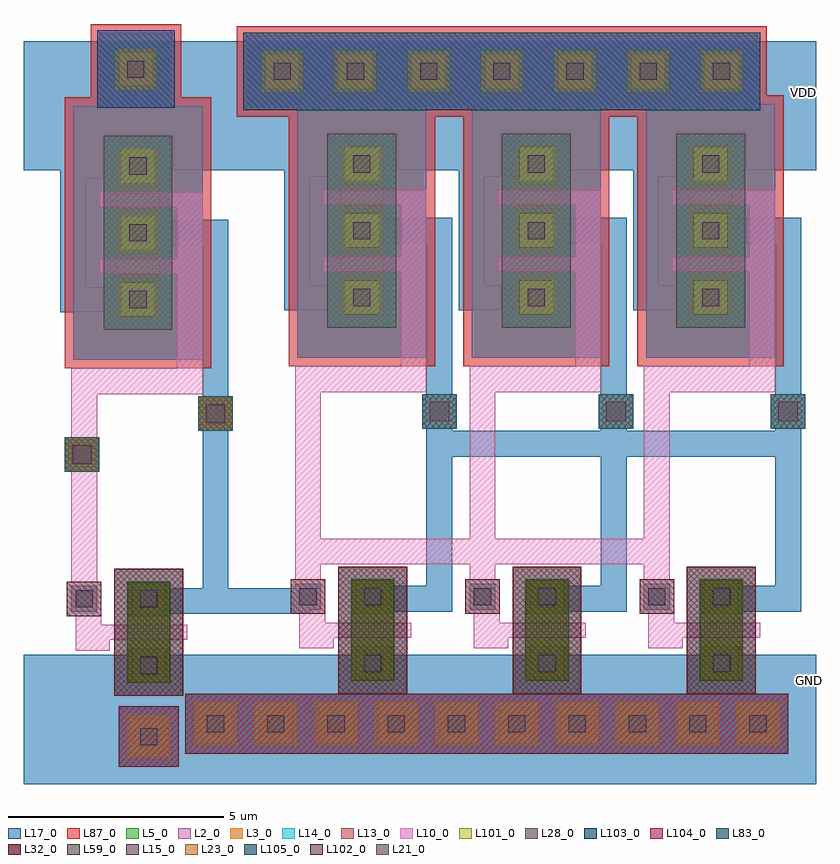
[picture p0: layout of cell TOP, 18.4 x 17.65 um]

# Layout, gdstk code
from math import pi, radians
import gdstk
lib = gdstk.Library(unit=1e-6, precision=1e-09)
def R(c, l, rs):  # rectangles x0, y0, x1, y1
    for r in rs: c.add(gdstk.rectangle(r[:2], r[2:], *l))
def A(c, l, x, y, w, h, nx, ny, dx, dy):  # array of equal rectangles
    R(c, l, [(x+i*dx, y+j*dy, x+i*dx+w, y+j*dy+h) for i in range(nx) for j in range(ny)])
L2_0 = (2, 0)
L3_0 = (3, 0)
L5_0 = (5, 0)
L10_0 = (10, 0)
L13_0 = (13, 0)
L14_0 = (14, 0)
L15_0 = (15, 0)
L17_0 = (17, 0)
L21_0 = (21, 0)
L23_0 = (23, 0)
L28_0 = (28, 0)
L32_0 = (32, 0)
L59_0 = (59, 0)
L83_0 = (83, 0)
L87_0 = (87, 0)
L101_0 = (101, 0)
L102_0 = (102, 0)
L103_0 = (103, 0)
L104_0 = (104, 0)
L105_0 = (105, 0)

via = lib.new_cell('Via')
R(via, L17_0, [(-0.4,-0.4,0.4,0.4)])
R(via, L21_0, [(-0.225,-0.225,0.225,0.225)])
R(via, L23_0, [(-0.4,-0.4,0.4,0.4)])
R(via, L105_0, [(-0.4,-0.4,0.4,0.4)])

nsub_line = lib.new_cell('Nsub_line')
R(nsub_line, L2_0, [(-0.85,-0.85,0.85,0.85)])
R(nsub_line, L3_0, [(-0.4,-0.4,0.4,0.4)])
R(nsub_line, L5_0, [(-0.85,-0.85,0.85,0.85)])
R(nsub_line, L15_0, [(-0.2,-0.2,0.2,0.2)])
R(nsub_line, L87_0, [(-1.05,-1.05,1.05,1.05)])
R(nsub_line, L101_0, [(-0.5,-0.5,0.5,0.5)])
R(nsub_line, L103_0, [(-0.9,-0.9,0.9,0.9)])
nsub_line.add(gdstk.FlexPath([(0,0),(0,0)], 1, ends="flush", simple_path=True, layer=17, datatype=0))  # L17_0

psub_line = lib.new_cell('Psub_line')
R(psub_line, L3_0, [(-0.4,-0.4,0.4,0.4)])
R(psub_line, L13_0, [(-0.7,-0.7,0.7,0.7)])
R(psub_line, L14_0, [(-0.7,-0.7,0.7,0.7)])
R(psub_line, L15_0, [(-0.2,-0.2,0.2,0.2)])
R(psub_line, L101_0, [(-0.5,-0.5,0.5,0.5)])
R(psub_line, L104_0, [(-0.7,-0.7,0.7,0.7)])
psub_line.add(gdstk.FlexPath([(0,0),(0,0)], 1, ends="flush", simple_path=True, layer=17, datatype=0))  # L17_0

dcont = lib.new_cell('dcont')
R(dcont, L3_0, [(-0.4,-0.4,0.4,0.4)])
R(dcont, L15_0, [(-0.2,-0.2,0.2,0.2)])
R(dcont, L101_0, [(-0.4,-0.4,0.4,0.4)])

pch = lib.new_cell('Pch')
R(pch, L2_0, [(-1,0.4,4.9,3.4)])
R(pch, L3_0, [(0,1.4,3.9,2.4)])
R(pch, L5_0, [(-1,0.4,4.9,3.4)])
R(pch, L13_0, [(-0.3,1.1,4.2,2.7)])
R(pch, L14_0, [(-0.3,1.1,4.2,2.7)])
R(pch, L28_0, [(-0.3,1.1,4.2,2.7)])
R(pch, L87_0, [(-1.2,0.2,5.1,3.6)])
pch.add(gdstk.FlexPath([(0.4,1.4),(0.4,2.4)], 0.8, ends="flush", simple_path=True, layer=17, datatype=0))  # L17_0
pch.add(gdstk.FlexPath([(1.95,1.4),(1.95,2.4)], 0.8, ends="flush", simple_path=True, layer=17, datatype=0))  # L17_0
pch.add(gdstk.FlexPath([(3.5,1.4),(3.5,2.4)], 0.8, ends="flush", simple_path=True, layer=17, datatype=0))  # L17_0
pch.add(gdstk.FlexPath([(0.4,1.8),(0.4,3.4)], 0.6, ends="flush", simple_path=True, layer=17, datatype=0))  # L17_0
pch.add(gdstk.FlexPath([(1.95,-0.2),(1.95,2)], 0.6, ends="flush", simple_path=True, layer=17, datatype=0))  # L17_0
pch.add(gdstk.FlexPath([(3.5,1.8),(3.5,3.4)], 0.6, ends="flush", simple_path=True, layer=17, datatype=0))  # L17_0
pch.add(gdstk.FlexPath([(0.4,3.4),(3.5,3.4)], 0.6, ends="extended", simple_path=True, layer=17, datatype=0))  # L17_0
pch.add(gdstk.FlexPath([(1.175,1.4),(1.175,2.4)], 0.35, ends=(0.4, 0.4), simple_path=True, layer=10, datatype=0))  # L10_0
pch.add(gdstk.FlexPath([(2.725,1.4),(2.725,2.4)], 0.35, ends=(0.4, 0.4), simple_path=True, layer=10, datatype=0))  # L10_0
pch.add(gdstk.FlexPath([(1,0.7),(2.9,0.7)], 0.6, ends="flush", simple_path=True, layer=10, datatype=0))  # L10_0
pch.add(gdstk.Reference(dcont, (0.4,1.9)))
pch.add(gdstk.Reference(dcont, (1.95,1.9)))
pch.add(gdstk.Reference(dcont, (3.5,1.9)))

pcont = lib.new_cell('pcont')
R(pcont, L10_0, [(-0.4,-0.4,0.4,0.4)])
R(pcont, L15_0, [(-0.2,-0.2,0.2,0.2)])
R(pcont, L17_0, [(-0.3,-0.3,0.3,0.3)])
R(pcont, L102_0, [(-0.4,-0.4,0.4,0.4)])

nch = lib.new_cell('Nch')
R(nch, L3_0, [(0,1.4,2.35,2.4)])
R(nch, L32_0, [(-0.3,1.1,2.65,2.7)])
R(nch, L59_0, [(0,1.4,2.35,2.4)])
R(nch, L83_0, [(-0.3,1.1,2.65,2.7)])
nch.add(gdstk.FlexPath([(0.4,1.4),(0.4,2.4)], 0.8, ends="flush", simple_path=True, layer=17, datatype=0))  # L17_0
nch.add(gdstk.FlexPath([(1.95,1.4),(1.95,2.4)], 0.8, ends="flush", simple_path=True, layer=17, datatype=0))  # L17_0
nch.add(gdstk.FlexPath([(1.175,1.4),(1.175,2.4)], 0.35, ends=(0.4, 0.4), simple_path=True, layer=10, datatype=0))  # L10_0
nch.add(gdstk.FlexPath([(0.4,3.3),(1.3,3.3),(1.3,2.8)], 0.6, ends="flush", simple_path=True, layer=10, datatype=0))  # L10_0
nch.add(gdstk.Reference(dcont, (0.4,1.9)))
nch.add(gdstk.Reference(dcont, (1.95,1.9)))
nch.add(gdstk.Reference(pcont, (0.4,3.4)))

inv = lib.new_cell('inv')
inv.add(gdstk.FlexPath([(3.6,10.75),(3.6,2.2),(2.3,2.2)], 0.6, ends="flush", simple_path=True, layer=17, datatype=0))  # L17_0
inv.add(gdstk.FlexPath([(0.55,2.25),(0.55,7.3),(3,7.3),(3,10.15)], 0.6, ends="flush", simple_path=True, layer=10, datatype=0))  # L10_0
inv.add(gdstk.Reference(pch, (3.7,12.7), rotation=3*pi/2, x_reflection=True))
inv.add(gdstk.Reference(nch, (3.95,2.65), rotation=3*pi/2, x_reflection=True))

inv3 = lib.new_cell('inv3')
inv3.add(gdstk.Reference(inv, (4.05,0)))
inv3.add(gdstk.Reference(inv, (0,0)))
inv3.add(gdstk.Reference(inv, (8.1,0)))

dcont_1 = lib.new_cell('dcont$1')
R(dcont_1, L3_0, [(-0.4,-0.4,0.4,0.4)])
R(dcont_1, L15_0, [(-0.2,-0.2,0.2,0.2)])
R(dcont_1, L101_0, [(-0.4,-0.4,0.4,0.4)])

psub_line_3 = lib.new_cell('Psub_line$3')
A(psub_line_3, L3_0, 0.3, -0.4, 0.8, 0.8, 10, 1, 1.4, 0)
R(psub_line_3, L13_0, [(0,-0.7,14,0.7)])
R(psub_line_3, L14_0, [(0,-0.7,14,0.7)])
A(psub_line_3, L15_0, 0.5, -0.2, 0.4, 0.4, 10, 1, 1.4, 0)
A(psub_line_3, L101_0, 0.2, -0.5, 1, 1, 10, 1, 1.4, 0)
R(psub_line_3, L104_0, [(0,-0.7,14,0.7)])
psub_line_3.add(gdstk.FlexPath([(0,0),(14,0)], 1, ends="flush", simple_path=True, layer=17, datatype=0))  # L17_0

nsub_line_2 = lib.new_cell('Nsub_line$2')
R(nsub_line_2, L2_0, [(0,-0.85,11.9,0.85)])
A(nsub_line_2, L3_0, 0.45, -0.4, 0.8, 0.8, 7, 1, 1.7, 0)
R(nsub_line_2, L5_0, [(0,-0.85,11.9,0.85)])
A(nsub_line_2, L15_0, 0.65, -0.2, 0.4, 0.4, 7, 1, 1.7, 0)
R(nsub_line_2, L87_0, [(-0.2,-1.05,12.1,1.05)])
A(nsub_line_2, L101_0, 0.35, -0.5, 1, 1, 7, 1, 1.7, 0)
R(nsub_line_2, L103_0, [(-0.05,-0.9,11.95,0.9)])
nsub_line_2.add(gdstk.FlexPath([(0,0),(11.9,0)], 1, ends="flush", simple_path=True, layer=17, datatype=0))  # L17_0

top = lib.new_cell('TOP')
top.add(gdstk.FlexPath([(95.95,64.85),(98.15,64.85),(98.15,64.85)], 0.6, ends="flush", simple_path=True, layer=17, datatype=0))  # L17_0
top.add(gdstk.FlexPath([(91.5,62.1),(109.9,62.1)], 3, ends="flush", simple_path=True, layer=17, datatype=0))  # L17_0
top.add(gdstk.FlexPath([(91.5,76.35),(109.9,76.35)], 3, ends="flush", simple_path=True, layer=17, datatype=0))  # L17_0
top.add(gdstk.FlexPath([(101.15,68.5),(109.2,68.5),(109.2,68.5)], 0.6, ends="flush", simple_path=True, layer=17, datatype=0))  # L17_0
top.add(gdstk.FlexPath([(94.1,77.2),(92.7,77.2),(92.7,74.9)], 0.6, ends="flush", simple_path=True, layer=17, datatype=0))  # L17_0
top.add(gdstk.FlexPath([(94.4,63.35),(94.4,61.5)], 0.6, ends="flush", simple_path=True, layer=17, datatype=0))  # L17_0
top.add(gdstk.FlexPath([(98.1,66),(102.15,66)], 0.6, ends="flush", simple_path=True, layer=10, datatype=0))  # L10_0
top.add(gdstk.FlexPath([(102.1,66),(106.2,66)], 0.6, ends="flush", simple_path=True, layer=10, datatype=0))  # L10_0
top.add(gdstk.Reference(via, (101.15,69.25), rotation=3*pi/2))
top.add(gdstk.Reference(nsub_line, (94.1,77.2), rotation=3*pi/2))
top.add(gdstk.Reference(via, (105.25,69.25), rotation=3*pi/2))
top.add(gdstk.Reference(psub_line, (94.4,61.7), rotation=3*pi/2))
top.add(gdstk.Reference(via, (92.85,68.25), rotation=3*pi/2))
top.add(gdstk.Reference(inv, (92.35,62.65)))
top.add(gdstk.Reference(inv3, (97.55,62.7)))
top.add(gdstk.Reference(via, (95.95,69.2), rotation=3*pi/2))
top.add(gdstk.Reference(dcont_1, (92.85,68.25), rotation=3*pi/2))
top.add(gdstk.Reference(dcont_1, (95.95,69.2), rotation=3*pi/2))
top.add(gdstk.Reference(via, (109.25,69.25), rotation=3*pi/2))
top.add(gdstk.Reference(psub_line_3, (95.25,62)))
top.add(gdstk.Reference(nsub_line_2, (96.65,77.15)))
top.add(gdstk.Label('GND', (109.75,63), layer=17, texttype=0))
top.add(gdstk.Label('VDD', (109.6,76.65), layer=17, texttype=0))

lib.write_gds('TOP.gds')
